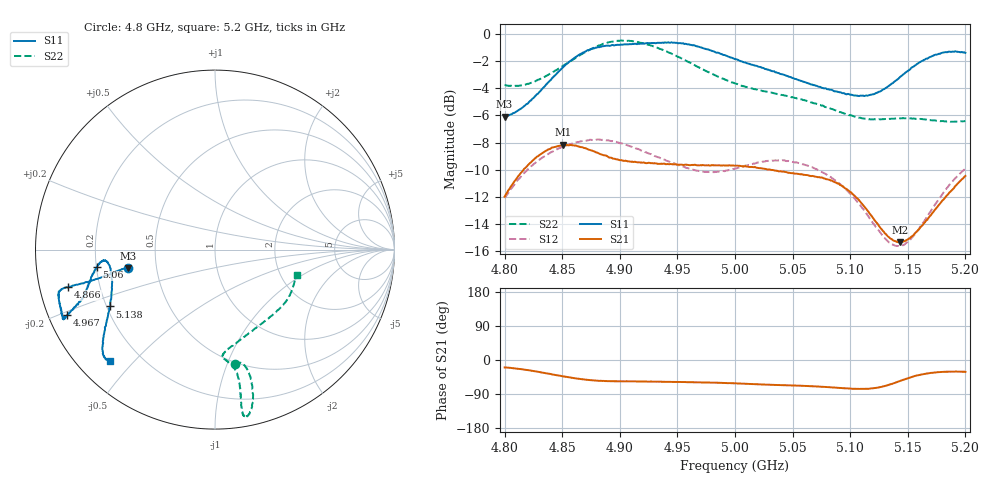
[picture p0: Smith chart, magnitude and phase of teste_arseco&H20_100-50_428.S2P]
! Network Analyzer HP8722D
! Hewlett-Packard
! Data name: Linha & Wilkinson
! Saver's name: Rodrigo Anjos
! Comments: Teste da utilização de aquisição
! continua pelo VNA HP8722D
! Time and date: 6/5/2025 16:08
!  Frequency  S11  S21  S12  S22
# HZ  S  MA R 50
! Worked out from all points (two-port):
!   401 points, 4.8 GHz to 5.2 GHz, reference 50 ohm
!   highest |S21| = -8.16 dB at 4.851 GHz (marker M1); lowest = -15.3 dB at 5.143 GHz (marker M2)
!   |S21| within 3 dB of the highest: 4.806 GHz to 5.092 GHz (286.4 MHz wide, 5.79 % of centre); 5.191728 GHz to end of sweep
!   lowest |S11| = -6.1 dB at 4.8 GHz (marker M3), VSWR 2.97, Z = 17 - j4.64 ohm
!   |S11| at or under -10 dB: nowhere
!   |S22| runs from -6.5 to -0.5 dB; largest |S21 - S12| = 0.62
!   S11 on the Smith chart (normalised r, x): 4.8 GHz: 0.34, -0.09; 4.866 GHz: 0.09, -0.12; 4.967 GHz: 0.05, -0.21; 5.06 GHz: 0.20, -0.07; 5.138 GHz: 0.21, -0.24; 5.2 GHz: 0.09, -0.43
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4.8e9  0.4959 -168.0  0.252 -19.6  0.2491 -140.8  0.6494 -80.3
4.823e9  0.5698 -167.4  0.3374 -28.0  0.326 -143.7  0.6607 -76.0
4.851e9  0.7561 -165.6  0.391 -43.2  0.385 -149.2  0.7647 -74.5
4.866e9  0.8439 -165.7  0.3835 -50.3  0.4025 -151.8  0.8391 -75.3
4.867e9  0.8494 -165.6  0.3833 -50.7  0.4032 -151.9  0.8425 -75.5
4.883e9  0.8955 -164.9  0.3614 -54.9  0.4087 -154.6  0.9099 -77.1
4.9e9  0.9126 -162.4  0.3432 -56.3  0.3964 -156.4  0.9438 -79.1
4.934e9  0.9275 -156.2  0.3327 -57.4  0.3517 -155.5  0.8842 -80.5
4.967e9  0.9006 -156.1  0.3286 -58.8  0.3137 -148.0  0.7593 -79.7
5e9  0.8081 -158.8  0.3275 -61.7  0.3201 -137.1  0.6573 -81.3
5.035e9  0.7226 -165.2  0.3142 -65.8  0.3428 -134.1  0.6034 -85.6
5.06e9  0.6663 -171.5  0.3031 -68.1  0.3305 -135.9  0.5709 -84.2
5.067e9  0.6519 -172.8  0.3005 -69.0  0.3235 -136.6  0.5592 -82.6
5.082e9  0.6234 -174.4  0.2907 -71.8  0.2996 -138.2  0.534 -77.1
5.101e9  0.5976 -172.0  0.2608 -75.7  0.2556 -138.7  0.5016 -66.6
5.116e9  0.5948 -165.5  0.2212 -75.9  0.2128 -135.5  0.4856 -55.9
5.134e9  0.6461 -154.2  0.1782 -65.1  0.1706 -120.8  0.4871 -43.3
5.138e9  0.666 -151.6  0.1734 -61.2  0.1672 -115.5  0.4879 -40.8
5.143e9  0.6926 -149.2  0.1713 -55.7  0.1657 -108.9  0.4893 -38.0
5.154e9  0.7549 -144.3  0.1806 -44.4  0.1788 -94.9  0.4878 -32.3
5.172e9  0.8321 -138.9  0.2209 -33.4  0.2297 -81.1  0.4807 -24.6
5.2e9  0.8524 -133.5  0.3003 -31.3  0.3193 -76.8  0.4784 -17.5
